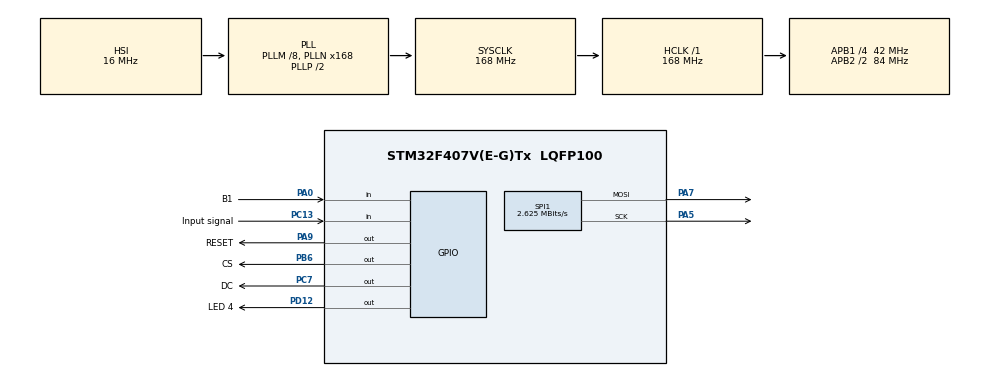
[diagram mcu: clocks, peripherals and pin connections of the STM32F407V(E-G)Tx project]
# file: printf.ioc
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Mcu.Family=STM32F4
Mcu.Name=STM32F407V(E-G)Tx
Mcu.Package=LQFP100
NVIC.PriorityGroup=NVIC_PRIORITYGROUP_4
PA0-WKUP.GPIO_Label=B1
PA0-WKUP.Signal=GPIO_Input
PA13.Mode=Trace_Asynchronous_SW
PA13.Signal=SYS_JTMS-SWDIO
PA14.Mode=Trace_Asynchronous_SW
PA14.Signal=SYS_JTCK-SWCLK
PA5.Mode=TX_Only_Simplex_Unidirect_Master
PA5.Signal=SPI1_SCK
PA7.Mode=TX_Only_Simplex_Unidirect_Master
PA7.Signal=SPI1_MOSI
PA9.GPIO_Label=RESET
PA9.Signal=GPIO_Output
PB3.Mode=Trace_Asynchronous_SW
PB3.Signal=SYS_JTDO-SWO
PB6.GPIO_Label=CS
PB6.Signal=GPIO_Output
PC13-ANTI_TAMP.GPIO_Label=Input signal
PC13-ANTI_TAMP.Signal=GPIO_Input
PC7.GPIO_Label=DC
PC7.Signal=GPIO_Output
PD12.GPIO_Label=LED 4
PD12.Signal=GPIO_Output
PH0-OSC_IN.Mode=HSE-External-Oscillator
PH0-OSC_IN.Signal=RCC_OSC_IN
PH1-OSC_OUT.Mode=HSE-External-Oscillator
PH1-OSC_OUT.Signal=RCC_OSC_OUT
ProjectManager.HeapSize=0x200
ProjectManager.StackSize=0x400
ProjectManager.TargetToolchain=CMake
RCC.48MHZClocksFreq_Value=84000000
RCC.AHBFreq_Value=168000000
RCC.APB1CLKDivider=RCC_HCLK_DIV4
RCC.APB1Freq_Value=42000000
RCC.APB1TimFreq_Value=84000000
RCC.APB2CLKDivider=RCC_HCLK_DIV2
RCC.APB2Freq_Value=84000000
RCC.APB2TimFreq_Value=168000000
RCC.CortexFreq_Value=168000000
RCC.HCLKFreq_Value=168000000
RCC.HSE_VALUE=8000000
RCC.HSI_VALUE=16000000
RCC.LSE_VALUE=32768
RCC.PLLM=8
RCC.PLLN=168
RCC.SYSCLKFreq_VALUE=168000000
RCC.SYSCLKSource=RCC_SYSCLKSOURCE_PLLCLK
RCC.VCOOutputFreq_Value=336000000
SPI1.BaudRatePrescaler=SPI_BAUDRATEPRESCALER_32
SPI1.CalculateBaudRate=2.625 MBits/s
SPI1.Direction=SPI_DIRECTION_2LINES
SPI1.Mode=SPI_MODE_MASTER
SPI1.VirtualType=VM_MASTER
board=custom

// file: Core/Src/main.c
/* USER CODE BEGIN Header */
/**
  ******************************************************************************
  * @file           : main.c
  * @brief          : Main program body
  ******************************************************************************
  * @attention
  *
  * Copyright (c) 2026 STMicroelectronics.
  * All rights reserved.
  *
  * This software is licensed under terms that can be found in the LICENSE file
  * in the root directory of this software component.
  * If no LICENSE file comes with this software, it is provided AS-IS.
  *
  ******************************************************************************
  */
/* USER CODE END Header */
#include "main.h"

/* USER CODE BEGIN Includes */
#include "mui_u8g2.h"
#include "stdio.h"
#include <u8x8.h>
#include <u8g2.h>
#include "UI/widget.h"
#include "UI/button_widget.h"
#include "UI/ui_grid.h"
#include "mui.h"
#include "UI/mui_port.h"
/* USER CODE END Includes */

extern SPI_HandleTypeDef hspi1;

void SystemClock_Config(void);
static void MX_GPIO_Init(void);
static void MX_SPI1_Init(void);

/* USER CODE BEGIN 0 */
static void ITM_SWO_Init(void)
{
  CoreDebug->DEMCR |= CoreDebug_DEMCR_TRCENA_Msk;
  DBGMCU->CR |= DBGMCU_CR_TRACE_IOEN;
  TPI->ACPR = (HAL_RCC_GetHCLKFreq() / 2000000U) - 1U;
  TPI->SPPR = 2U;
  TPI->FFCR = 0x00000100U;
  ITM->LAR = 0xC5ACCE55U;
  ITM->TCR = ITM_TCR_ITMENA_Msk | ITM_TCR_TSENA_Msk | ITM_TCR_SWOENA_Msk;
  ITM->TER = 1U;
}

int _write(int file, char *ptr, int len)
{
  for(int i = 0; i < len; i++)
  {
    ITM_SendChar(*ptr++);
  }

    return len;
}

/* USER CODE END 0 */

int main(void)
{

  /* MCU Configuration--------------------------------------------------------*/

  /* Reset of all peripherals, Initializes the Flash interface and the Systick. */
  HAL_Init();

  /* Configure the system clock */
  SystemClock_Config();

  /* USER CODE BEGIN SysInit */
  ITM_SWO_Init();
  /* USER CODE END SysInit */

  /* Initialize all configured peripherals */
  MX_GPIO_Init();
  MX_SPI1_Init();
  /* USER CODE BEGIN 2 */
  mui_port_init();
  /* USER CODE END 2 */

  /* Infinite loop */
  while (1)
  {
    mui_port_tick();
  }
}

void SystemClock_Config(void)
{
  RCC_OscInitTypeDef RCC_OscInitStruct = {0};
  RCC_ClkInitTypeDef RCC_ClkInitStruct = {0};

  /** Configure the main internal regulator output voltage
  */
  __HAL_RCC_PWR_CLK_ENABLE();
  __HAL_PWR_VOLTAGESCALING_CONFIG(PWR_REGULATOR_VOLTAGE_SCALE1);

  /** Initializes the RCC Oscillators according to the specified parameters
  * in the RCC_OscInitTypeDef structure.
  */
  RCC_OscInitStruct.OscillatorType = RCC_OSCILLATORTYPE_HSI;
  RCC_OscInitStruct.HSIState = RCC_HSI_ON;
  RCC_OscInitStruct.HSICalibrationValue = RCC_HSICALIBRATION_DEFAULT;
  RCC_OscInitStruct.PLL.PLLState = RCC_PLL_ON;
  RCC_OscInitStruct.PLL.PLLSource = RCC_PLLSOURCE_HSI;
  RCC_OscInitStruct.PLL.PLLM = 8;
  RCC_OscInitStruct.PLL.PLLN = 168;
  RCC_OscInitStruct.PLL.PLLP = RCC_PLLP_DIV2;
  RCC_OscInitStruct.PLL.PLLQ = 4;
  if (HAL_RCC_OscConfig(&RCC_OscInitStruct) != HAL_OK)
  {
    Error_Handler();
  }

  /** Initializes the CPU, AHB and APB buses clocks
  */
  RCC_ClkInitStruct.ClockType = RCC_CLOCKTYPE_HCLK|RCC_CLOCKTYPE_SYSCLK
                              |RCC_CLOCKTYPE_PCLK1|RCC_CLOCKTYPE_PCLK2;
  RCC_ClkInitStruct.SYSCLKSource = RCC_SYSCLKSOURCE_PLLCLK;
  RCC_ClkInitStruct.AHBCLKDivider = RCC_SYSCLK_DIV1;
  RCC_ClkInitStruct.APB1CLKDivider = RCC_HCLK_DIV4;
  RCC_ClkInitStruct.APB2CLKDivider = RCC_HCLK_DIV2;

  if (HAL_RCC_ClockConfig(&RCC_ClkInitStruct, FLASH_LATENCY_5) != HAL_OK)
  {
    Error_Handler();
  }
}

static void MX_SPI1_Init(void)
{

  /* SPI1 parameter configuration*/
  hspi1.Instance = SPI1;
  hspi1.Init.Mode = SPI_MODE_MASTER;
  hspi1.Init.Direction = SPI_DIRECTION_2LINES;
  hspi1.Init.DataSize = SPI_DATASIZE_8BIT;
  hspi1.Init.CLKPolarity = SPI_POLARITY_LOW;
  hspi1.Init.CLKPhase = SPI_PHASE_1EDGE;
  hspi1.Init.NSS = SPI_NSS_SOFT;
  hspi1.Init.BaudRatePrescaler = SPI_BAUDRATEPRESCALER_32;
  hspi1.Init.FirstBit = SPI_FIRSTBIT_MSB;
  hspi1.Init.TIMode = SPI_TIMODE_DISABLE;
  hspi1.Init.CRCCalculation = SPI_CRCCALCULATION_DISABLE;
  hspi1.Init.CRCPolynomial = 10;
  if (HAL_SPI_Init(&hspi1) != HAL_OK)
  {
    Error_Handler();
  }

}

static void MX_GPIO_Init(void)
{
  GPIO_InitTypeDef GPIO_InitStruct = {0};

  /* GPIO Ports Clock Enable */
  __HAL_RCC_GPIOC_CLK_ENABLE();
  __HAL_RCC_GPIOH_CLK_ENABLE();
  __HAL_RCC_GPIOA_CLK_ENABLE();
  __HAL_RCC_GPIOD_CLK_ENABLE();
  __HAL_RCC_GPIOB_CLK_ENABLE();

  /*Configure GPIO pin Output Level */
  HAL_GPIO_WritePin(LED_4_GPIO_Port, LED_4_Pin, GPIO_PIN_RESET);

  /*Configure GPIO pin Output Level */
  HAL_GPIO_WritePin(DC_GPIO_Port, DC_Pin, GPIO_PIN_RESET);

  /*Configure GPIO pin Output Level */
  HAL_GPIO_WritePin(RESET_GPIO_Port, RESET_Pin, GPIO_PIN_RESET);

  /*Configure GPIO pin Output Level */
  HAL_GPIO_WritePin(CS_GPIO_Port, CS_Pin, GPIO_PIN_RESET);

  /*Configure GPIO pin : Input_signal_Pin */
  GPIO_InitStruct.Pin = Input_signal_Pin;
  GPIO_InitStruct.Mode = GPIO_MODE_INPUT;
  GPIO_InitStruct.Pull = GPIO_NOPULL;
  HAL_GPIO_Init(Input_signal_GPIO_Port, &GPIO_InitStruct);

  /*Configure GPIO pin : B1_Pin */
  GPIO_InitStruct.Pin = B1_Pin;
  GPIO_InitStruct.Mode = GPIO_MODE_INPUT;
  GPIO_InitStruct.Pull = GPIO_NOPULL;
  HAL_GPIO_Init(B1_GPIO_Port, &GPIO_InitStruct);

  /*Configure GPIO pin : LED_4_Pin */
  GPIO_InitStruct.Pin = LED_4_Pin;
  GPIO_InitStruct.Mode = GPIO_MODE_OUTPUT_PP;
  GPIO_InitStruct.Pull = GPIO_NOPULL;
  GPIO_InitStruct.Speed = GPIO_SPEED_FREQ_LOW;
  HAL_GPIO_Init(LED_4_GPIO_Port, &GPIO_InitStruct);

  /*Configure GPIO pin : DC_Pin */
  GPIO_InitStruct.Pin = DC_Pin;
  GPIO_InitStruct.Mode = GPIO_MODE_OUTPUT_PP;
  GPIO_InitStruct.Pull = GPIO_NOPULL;
  GPIO_InitStruct.Speed = GPIO_SPEED_FREQ_LOW;
  HAL_GPIO_Init(DC_GPIO_Port, &GPIO_InitStruct);

  /*Configure GPIO pin : RESET_Pin */
  GPIO_InitStruct.Pin = RESET_Pin;
  GPIO_InitStruct.Mode = GPIO_MODE_OUTPUT_PP;
  GPIO_InitStruct.Pull = GPIO_NOPULL;
  GPIO_InitStruct.Speed = GPIO_SPEED_FREQ_LOW;
  HAL_GPIO_Init(RESET_GPIO_Port, &GPIO_InitStruct);

  /*Configure GPIO pin : CS_Pin */
  GPIO_InitStruct.Pin = CS_Pin;
  GPIO_InitStruct.Mode = GPIO_MODE_OUTPUT_PP;
  GPIO_InitStruct.Pull = GPIO_NOPULL;
  GPIO_InitStruct.Speed = GPIO_SPEED_FREQ_LOW;
  HAL_GPIO_Init(CS_GPIO_Port, &GPIO_InitStruct);

}

void Error_Handler(void)
{
  __disable_irq();
  while (1)
  {
  }
}
